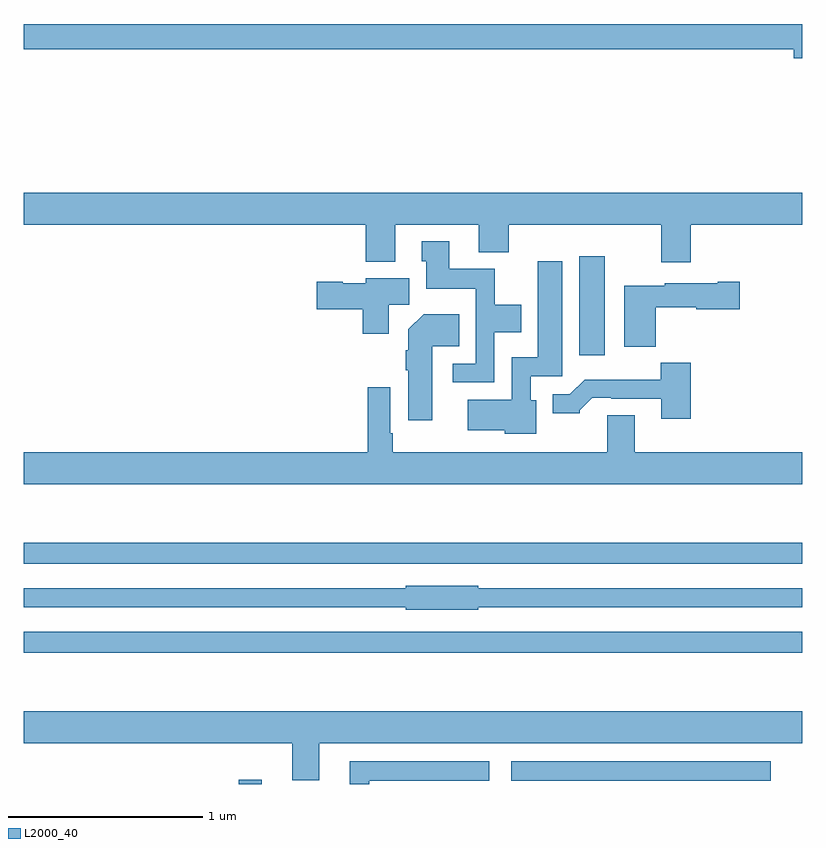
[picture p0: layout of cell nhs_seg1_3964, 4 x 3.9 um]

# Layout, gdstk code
import gdstk
lib = gdstk.Library(unit=1e-6, precision=1e-09)
def R(c, l, rs):  # rectangles x0, y0, x1, y1
    for r in rs: c.add(gdstk.rectangle(r[:2], r[2:], *l))
def P(c, l, *ps):  # polygons
    for p in ps: c.add(gdstk.Polygon(p, *l))
L2000_40 = (2000, 40)

nhs_seg1_3964 = lib.new_cell('nhs_seg1_3964')
R(nhs_seg1_3964, L2000_40, [(328.105,542.199,328.222,542.221), (329.505,542.216,330.838,542.317), (327,542.874,331,542.982), (327,543.33,331,543.439), (329.855,544.401,329.986,544.909)])
P(nhs_seg1_3964, L2000_40, [(331,546.103),(327,546.103),(327,545.974),(330.956,545.974),(330.956,545.927),(331,545.927)],
  [(330.428,545.072),(331,545.072),(331,545.236),(327,545.236),(327,545.072),(328.757,545.072),(328.757,544.883),(328.909,544.883),(328.909,545.072),(329.339,545.072),(329.339,544.931),(329.492,544.931),(329.492,545.072),(330.275,545.072),(330.275,544.878),(330.428,544.878)],
  [(329.418,544.52),(329.557,544.52),(329.557,544.66),(329.421,544.66),(329.421,544.846),(329.185,544.846),(329.185,544.987),(329.045,544.987),(329.045,544.884),(329.069,544.884),(329.069,544.742),(329.322,544.742),(329.322,544.359),(329.205,544.359),(329.205,544.263),(329.418,544.263)],
  [(329.632,544.17),(329.604,544.17),(329.604,544.293),(329.767,544.293),(329.767,544.885),(329.642,544.885),(329.642,544.39),(329.508,544.39),(329.508,544.174),(329.28,544.174),(329.28,544.016),(329.472,544.016),(329.472,543.998),(329.632,543.998)],
  [(328.876,544.66),(328.981,544.66),(328.981,544.798),(328.758,544.798),(328.758,544.771),(328.638,544.771),(328.638,544.779),(328.506,544.779),(328.506,544.637),(328.742,544.637),(328.742,544.512),(328.876,544.512)],
  [(330.248,544.649),(330.456,544.649),(330.456,544.637),(330.679,544.637),(330.679,544.779),(330.566,544.779),(330.566,544.771),(330.294,544.771),(330.294,544.759),(330.086,544.759),(330.086,544.445),(330.248,544.445)],
  [(329.098,544.448),(329.237,544.448),(329.237,544.612),(329.054,544.612),(328.976,544.534),(328.976,544.427),(328.964,544.427),(328.964,544.324),(328.976,544.324),(328.976,544.068),(329.098,544.068)],
  [(330.428,544.363),(330.273,544.363),(330.273,544.276),(329.881,544.276),(329.805,544.2),(329.717,544.2),(329.717,544.103),(329.856,544.103),(329.856,544.118),(329.92,544.182),(330.019,544.182),(330.019,544.179),(330.275,544.179),(330.275,544.074),(330.428,544.074)],
  [(331,543.904),(330.139,543.904),(330.139,544.094),(329.999,544.094),(329.999,543.904),(328.897,543.904),(328.897,544),(328.884,544),(328.884,544.237),(328.768,544.237),(328.768,543.904),(327,543.904),(327,543.74),(331,543.74)],
  [(329.334,543.108),(331,543.108),(331,543.204),(329.334,543.204),(329.334,543.217),(328.962,543.217),(328.962,543.204),(327,543.204),(327,543.108),(328.962,543.108),(328.962,543.095),(329.334,543.095)],
  [(328.519,542.408),(331,542.408),(331,542.572),(327,542.572),(327,542.408),(328.379,542.408),(328.379,542.218),(328.519,542.218)],
  [(328.774,542.216),(329.392,542.216),(329.392,542.317),(328.676,542.317),(328.676,542.199),(328.774,542.199)])

lib.write_gds('nhs_seg1_3964.gds')
